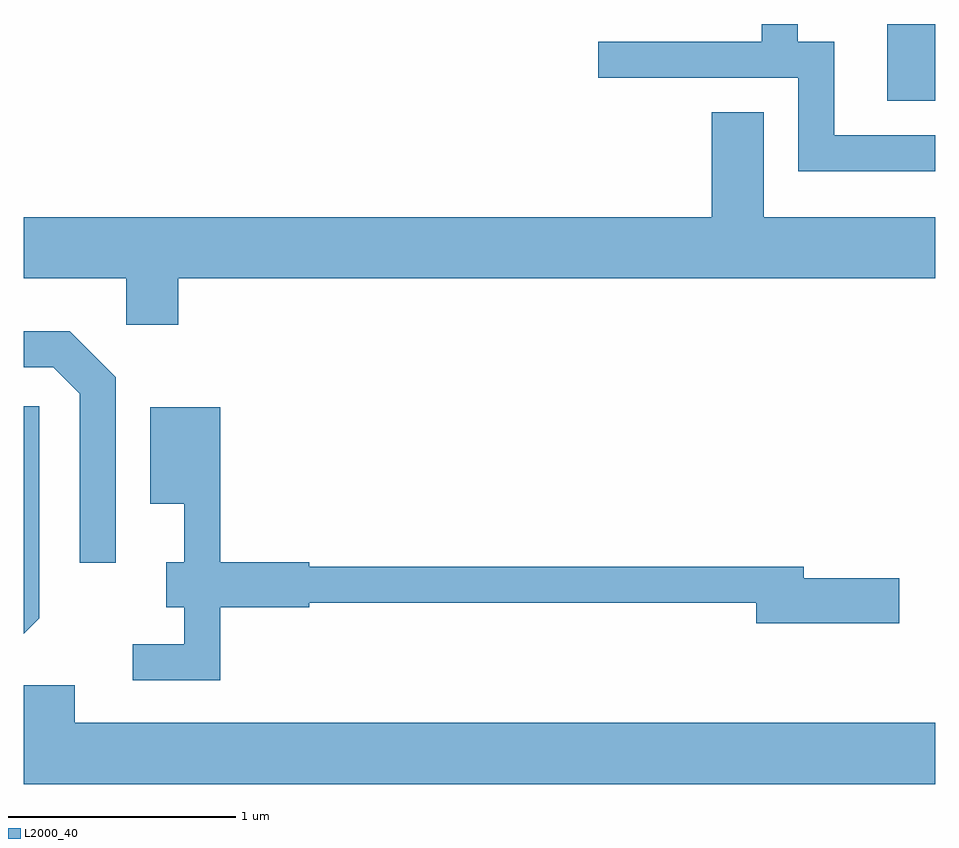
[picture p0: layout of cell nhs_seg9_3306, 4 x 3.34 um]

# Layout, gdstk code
import gdstk
lib = gdstk.Library(unit=1e-6, precision=1e-09)
def R(c, l, rs):  # rectangles x0, y0, x1, y1
    for r in rs: c.add(gdstk.rectangle(r[:2], r[2:], *l))
def P(c, l, *ps):  # polygons
    for p in ps: c.add(gdstk.Polygon(p, *l))
L2000_40 = (2000, 40)

nhs_seg9_3306 = lib.new_cell('nhs_seg9_3306')
R(nhs_seg9_3306, L2000_40, [(285.401,2048.096,285.611,2048.432)])
P(nhs_seg9_3306, L2000_40, [(285.611,2047.944),(285.169,2047.944),(285.169,2048.354),(285.009,2048.354),(285.009,2048.432),(284.851,2048.432),(284.851,2048.354),(284.133,2048.354),(284.133,2048.196),(285.011,2048.196),(285.011,2047.786),(285.611,2047.786)],
  [(282.289,2047.316),(285.611,2047.316),(285.611,2047.584),(284.859,2047.584),(284.859,2048.044),(284.631,2048.044),(284.631,2047.584),(281.611,2047.584),(281.611,2047.316),(282.061,2047.316),(282.061,2047.111),(282.289,2047.111)],
  [(282.014,2046.882),(281.812,2047.084),(281.611,2047.084),(281.611,2046.926),(281.739,2046.926),(281.856,2046.809),(281.856,2046.068),(282.014,2046.068)],
  [(281.679,2045.824),(281.679,2046.754),(281.611,2046.754),(281.611,2045.756)],
  [(282.474,2045.871),(282.864,2045.871),(282.864,2045.891),(284.826,2045.891),(284.826,2045.801),(285.454,2045.801),(285.454,2045.999),(285.034,2045.999),(285.034,2046.049),(282.864,2046.049),(282.864,2046.069),(282.474,2046.069),(282.474,2046.749),(282.166,2046.749),(282.166,2046.326),(282.316,2046.326),(282.316,2046.069),(282.236,2046.069),(282.236,2045.871),(282.316,2045.871),(282.316,2045.709),(282.088,2045.709),(282.088,2045.551),(282.474,2045.551)],
  [(285.611,2045.364),(281.834,2045.364),(281.834,2045.529),(281.611,2045.529),(281.611,2045.096),(285.611,2045.096)])

lib.write_gds('nhs_seg9_3306.gds')
